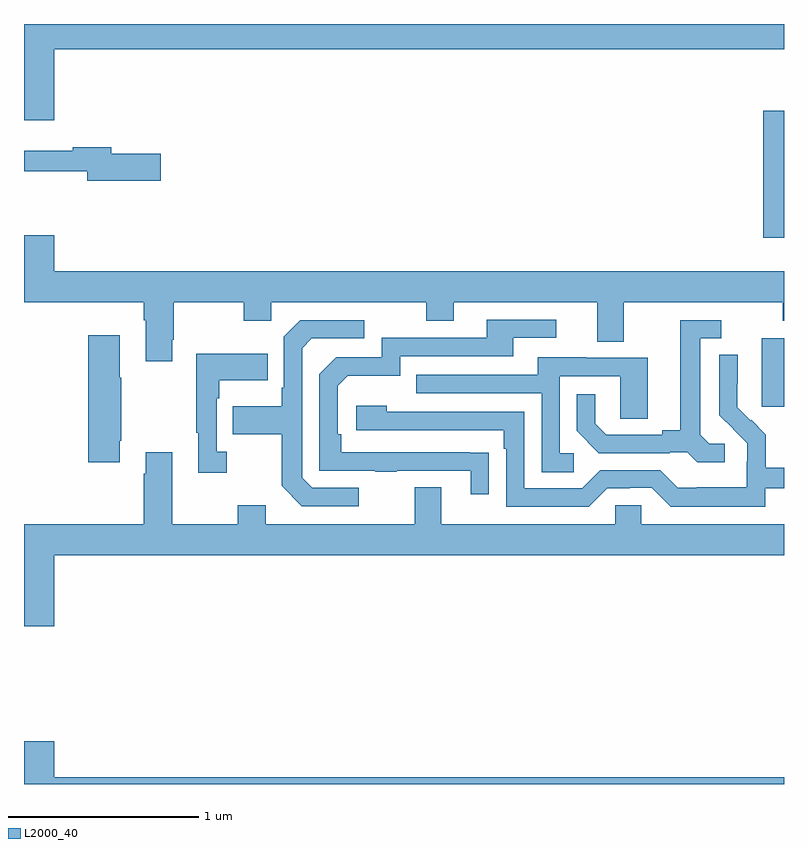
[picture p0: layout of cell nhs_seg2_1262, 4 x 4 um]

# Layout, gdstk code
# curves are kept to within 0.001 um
import gdstk
lib = gdstk.Library(unit=1e-6, precision=1e-09)
def R(c, l, rs):  # rectangles x0, y0, x1, y1
    for r in rs: c.add(gdstk.rectangle(r[:2], r[2:], *l))
def P(c, l, *ps):  # polygons
    for p in ps: c.add(gdstk.Polygon(p, *l))
L2000_40 = (2000, 40)

nhs_seg2_1262 = lib.new_cell('nhs_seg2_1262')
R(nhs_seg2_1262, L2000_40, [(180.884,613.785,181,614.146), (180.89,614.676,181,615.343)])
P(nhs_seg2_1262, L2000_40, [(177.16,615.668),(181,615.668),(181,615.8),(177,615.8),(177,615.294),(177.16,615.294)],
  [(177.721,615.116),(177.46,615.116),(177.46,615.152),(177.256,615.152),(177.256,615.133),(177,615.133),(177,615.024),(177.332,615.024),(177.332,614.974),(177.721,614.974)],
  [(177.781,614.137),(177.789,614.137),(177.789,614.336),(178.156,614.336),(178.156,614.237),(178.302,614.237),(178.302,614.336),(179.116,614.336),(179.116,614.237),(179.263,614.237),(179.263,614.336),(180.017,614.336),(180.017,614.128),(180.157,614.128),(180.157,614.336),(180.994,614.336),(180.994,614.237),(181,614.237),(181,614.5),(177.16,614.5),(177.16,614.689),(177,614.689),(177,614.336),(177.629,614.336),(177.629,614.24),(177.641,614.24),(177.641,614.025),(177.781,614.025)],
  [(179.447,613.544),(178.67,613.545),(178.67,613.642),(178.65,613.642),(178.65,613.896),(178.703,613.949),(178.98,613.949),(178.98,614.052),(179.575,614.052),(179.575,614.148),(179.8,614.148),(179.8,614.244),(179.435,614.244),(179.435,614.148),(178.884,614.148),(178.884,614.046),(178.644,614.046),(178.554,613.956),(178.554,613.449),(178.849,613.449),(178.849,613.444),(178.961,613.444),(178.961,613.449),(179.351,613.449),(179.351,613.326),(179.447,613.326)],
  [(178.762,613.359),(178.518,613.359),(178.464,613.413),(178.464,614.094),(178.515,614.145),(178.792,614.145),(178.792,614.241),(178.455,614.241),(178.368,614.154),(178.368,613.885),(178.356,613.885),(178.356,613.789),(178.099,613.789),(178.099,613.642),(178.356,613.642),(178.356,613.369),(178.461,613.263),(178.762,613.263)],
  [(180.688,613.59),(180.606,613.59),(180.559,613.637),(180.559,614.145),(180.67,614.145),(180.67,614.241),(180.455,614.241),(180.455,613.661),(180.359,613.661),(180.359,613.638),(180.064,613.638),(180.007,613.695),(180.007,613.852),(179.91,613.852),(179.91,613.658),(180.026,613.542),(180.398,613.542),(180.398,613.545),(180.492,613.545),(180.544,613.493),(180.688,613.493)],
  [(177.505,613.606),(177.513,613.606),(177.513,613.937),(177.505,613.937),(177.505,614.161),(177.338,614.161),(177.338,613.494),(177.505,613.494)],
  [(178.066,613.55),(178.014,613.55),(178.014,613.829),(178.027,613.829),(178.027,613.925),(178.283,613.925),(178.283,614.065),(177.906,614.065),(177.906,613.649),(177.917,613.649),(177.917,613.437),(178.066,613.437)],
  [(180.9,613.356),(181,613.356),(181,613.465),(180.905,613.465),(180.905,613.639),(180.828,613.716),(180.825,613.713),(180.755,613.784),(180.756,614.06),(180.66,614.06),(180.66,613.742),(180.806,613.594),(180.806,613.497),(180.804,613.497),(180.804,613.363),(180.541,613.363),(180.541,613.359),(180.441,613.359),(180.348,613.452),(180.033,613.452),(179.937,613.356),(179.634,613.356),(179.634,613.758),(178.91,613.758),(178.91,613.792),(178.749,613.792),(178.749,613.662),(179.525,613.662),(179.525,613.565),(179.538,613.565),(179.538,613.26),(179.973,613.26),(180.069,613.356),(180.188,613.356),(180.188,613.359),(180.303,613.359),(180.403,613.259),(180.9,613.259)],
  [(179.893,613.542),(179.82,613.542),(179.82,613.947),(180.138,613.947),(180.138,613.723),(180.283,613.723),(180.283,614.043),(179.959,614.043),(179.959,614.047),(179.705,614.047),(179.705,613.953),(179.065,613.953),(179.065,613.857),(179.724,613.857),(179.724,613.441),(179.893,613.441)],
  [(177.16,613.004),(181,613.004),(181,613.168),(180.249,613.168),(180.249,613.266),(180.111,613.266),(180.111,613.168),(179.197,613.168),(179.197,613.363),(179.057,613.363),(179.057,613.168),(178.273,613.168),(178.273,613.267),(178.126,613.267),(178.126,613.168),(177.781,613.168),(177.781,613.546),(177.641,613.546),(177.641,613.433),(177.629,613.433),(177.629,613.168),(177,613.168),(177,612.63),(177.16,612.63)],
  [(181,611.836),(177.16,611.836),(177.16,612.025),(177,612.025),(177,611.8),(181,611.8)])

lib.write_gds('nhs_seg2_1262.gds')
